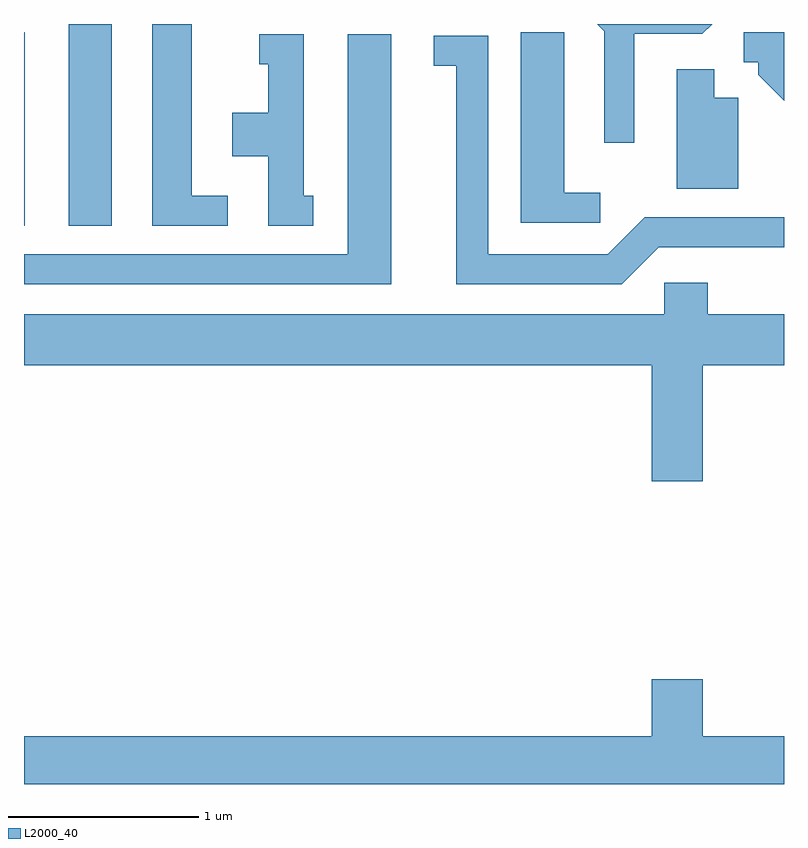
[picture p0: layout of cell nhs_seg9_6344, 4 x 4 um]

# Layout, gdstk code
import gdstk
lib = gdstk.Library(unit=1e-6, precision=1e-09)
def R(c, l, rs):  # rectangles x0, y0, x1, y1
    for r in rs: c.add(gdstk.rectangle(r[:2], r[2:], *l))
def P(c, l, *ps):  # polygons
    for p in ps: c.add(gdstk.Polygon(p, *l))
L2000_40 = (2000, 40)

nhs_seg9_6344 = lib.new_cell('nhs_seg9_6344')
R(nhs_seg9_6344, L2000_40, [(371.611,2061.371,371.614,2062.389), (371.846,2061.371,372.074,2062.432)])
P(nhs_seg9_6344, L2000_40, [(372.683,2061.529),(372.494,2061.529),(372.494,2062.432),(372.286,2062.432),(372.286,2061.371),(372.683,2061.371)],
  [(374.824,2062.381),(375.182,2062.381),(375.233,2062.432),(374.628,2062.432),(374.666,2062.394),(374.666,2061.808),(374.824,2061.808)],
  [(375.611,2062.389),(375.398,2062.389),(375.398,2062.231),(375.476,2062.231),(375.476,2062.164),(375.611,2062.029)],
  [(374.643,2061.544),(374.454,2061.544),(374.454,2062.389),(374.226,2062.389),(374.226,2061.386),(374.643,2061.386)],
  [(373.133,2061.529),(373.084,2061.529),(373.084,2062.379),(372.848,2062.379),(372.848,2062.221),(372.896,2062.221),(372.896,2061.964),(372.706,2061.964),(372.706,2061.736),(372.896,2061.736),(372.896,2061.371),(373.133,2061.371)],
  [(373.544,2062.379),(373.316,2062.379),(373.316,2061.219),(371.611,2061.219),(371.611,2061.061),(373.544,2061.061)],
  [(374.952,2061.256),(375.611,2061.256),(375.611,2061.414),(374.879,2061.414),(374.684,2061.219),(374.054,2061.219),(374.054,2062.369),(373.768,2062.369),(373.768,2062.211),(373.886,2062.211),(373.886,2061.061),(374.757,2061.061)],
  [(375.369,2062.044),(375.244,2062.044),(375.244,2062.194),(375.046,2062.194),(375.046,2061.566),(375.369,2061.566)],
  [(375.184,2060.636),(375.611,2060.636),(375.611,2060.904),(375.209,2060.904),(375.209,2061.069),(374.981,2061.069),(374.981,2060.904),(371.611,2060.904),(371.611,2060.636),(374.916,2060.636),(374.916,2060.026),(375.184,2060.026)],
  [(375.611,2058.684),(375.184,2058.684),(375.184,2058.984),(374.916,2058.984),(374.916,2058.684),(371.611,2058.684),(371.611,2058.432),(375.611,2058.432)])

lib.write_gds('nhs_seg9_6344.gds')
